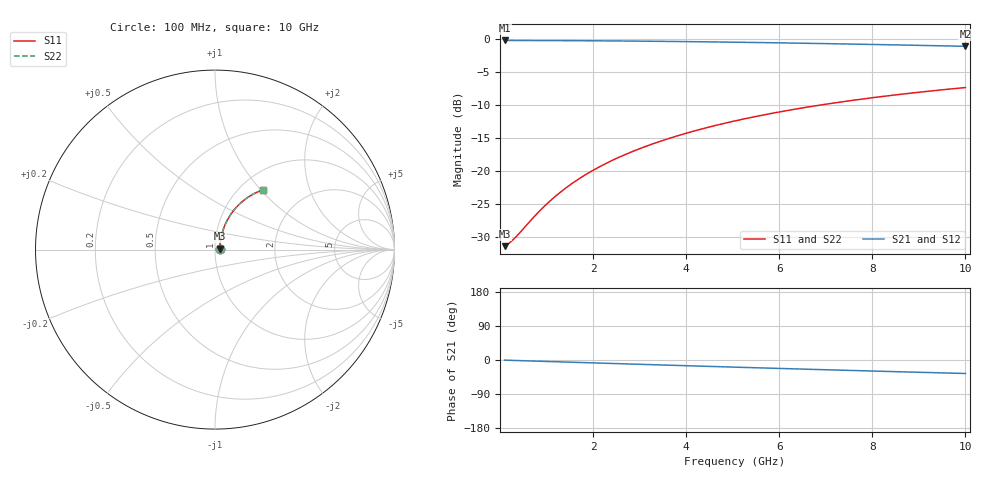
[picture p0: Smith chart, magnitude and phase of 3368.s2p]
# Hz S RI R 50.00
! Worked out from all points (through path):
!   100 points, 100 MHz to 10 GHz, reference 50 ohm
!   highest |S21| = -0.23 dB at 100 MHz (marker M1); lowest = -1.1 dB at 10 GHz (marker M2)
!   group delay of S21, straight-line fit = 9.92 ps
!   lowest |S11| = -31.4 dB at 100 MHz (marker M3), VSWR 1.06, Z = 52.7 + j0.497 ohm
!   |S11| at or under -10 dB: start of sweep to 6.909 GHz
!   |S22| runs from -31.4 to -7.4 dB; largest |S21 - S12| = 1e-12
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1e8  0.0264 0.00471  0.9736 -0.00648  0.9736 -0.00648  0.0264 0.00471
2e8  0.0267 0.00942  0.9733 -0.013  0.9733 -0.013  0.0267 0.00942
3e8  0.027 0.0141  0.973 -0.0194  0.973 -0.0194  0.027 0.0141
8e8  0.0291 0.0376  0.9708 -0.0517  0.9708 -0.0517  0.0291 0.0376
1.1e9  0.031 0.0515  0.9688 -0.0709  0.9688 -0.0709  0.031 0.0515
1.4e9  0.0335 0.0654  0.9662 -0.0901  0.9662 -0.0901  0.0335 0.0654
1.6e9  0.0354 0.0745  0.9641 -0.1028  0.9641 -0.1028  0.0354 0.0745
1.8e9  0.0376 0.0836  0.9619 -0.1154  0.9619 -0.1154  0.0376 0.0836
2.1e9  0.0413 0.0971  0.958 -0.1342  0.958 -0.1342  0.0413 0.0971
2.5e9  0.047 0.1148  0.952 -0.1589  0.952 -0.1589  0.047 0.1148
2.9e9  0.0536 0.1321  0.9451 -0.1833  0.9451 -0.1833  0.0536 0.1321
3.4e9  0.063 0.153  0.9351 -0.2131  0.9351 -0.2131  0.063 0.153
3.8e9  0.0714 0.1692  0.9262 -0.2363  0.9262 -0.2363  0.0714 0.1692
4.2e9  0.0806 0.1848  0.9165 -0.2591  0.9165 -0.2591  0.0806 0.1848
4.6e9  0.0905 0.1998  0.9061 -0.2812  0.9061 -0.2812  0.0905 0.1998
5.1e9  0.1038 0.2177  0.892 -0.308  0.892 -0.308  0.1038 0.2177
5.9e9  0.127 0.2441  0.8673 -0.3486  0.8673 -0.3486  0.127 0.2441
6.7e9  0.1522 0.2676  0.8405 -0.3864  0.8405 -0.3864  0.1522 0.2676
7.5e9  0.179 0.2881  0.8118 -0.4213  0.8118 -0.4213  0.179 0.2881
8.4e9  0.2106 0.3076  0.7779 -0.457  0.7779 -0.457  0.2106 0.3076
9.2e9  0.2394 0.3217  0.7468 -0.4856  0.7468 -0.4856  0.2394 0.3217
1e10  0.2687 0.3329  0.7149 -0.5114  0.7149 -0.5114  0.2687 0.3329
